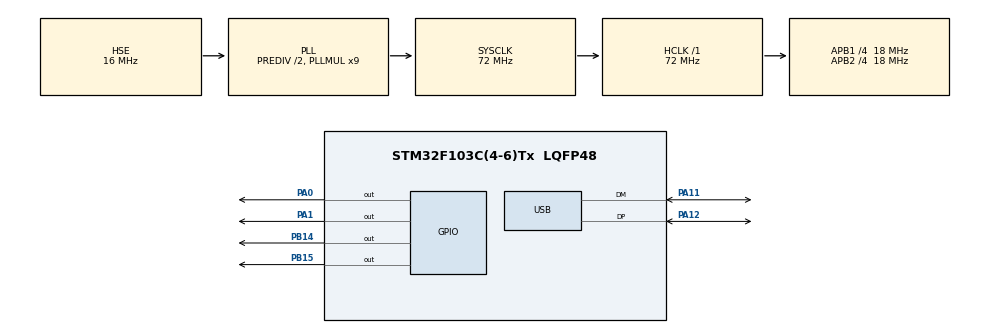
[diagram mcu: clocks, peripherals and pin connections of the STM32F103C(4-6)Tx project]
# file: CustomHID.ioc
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Mcu.Family=STM32F1
Mcu.Name=STM32F103C(4-6)Tx
Mcu.Package=LQFP48
NVIC.PriorityGroup=NVIC_PRIORITYGROUP_4
NVIC.USB_LP_CAN1_RX0_IRQn=true\:0\:0\:false\:false\:true\:false
PA0-WKUP.Signal=GPIO_Output
PA1.Signal=GPIO_Output
PA11.Mode=Device
PA11.Signal=USB_DM
PA12.Mode=Device
PA12.Signal=USB_DP
PA13.Mode=Serial_Wire
PA13.Signal=SYS_JTMS-SWDIO
PA14.Mode=Serial_Wire
PA14.Signal=SYS_JTCK-SWCLK
PB14.GPIO_ModeDefaultOutputPP=GPIO_MODE_OUTPUT_PP
PB14.GPIO_PuPd=GPIO_NOPULL
PB14.GPIO_Speed=GPIO_SPEED_FREQ_LOW
PB14.PinState=GPIO_PIN_RESET
PB14.Signal=GPIO_Output
PB15.GPIO_ModeDefaultOutputPP=GPIO_MODE_OUTPUT_PP
PB15.GPIO_PuPd=GPIO_NOPULL
PB15.GPIO_Speed=GPIO_SPEED_FREQ_LOW
PB15.PinState=GPIO_PIN_RESET
PB15.Signal=GPIO_Output
PD0-OSC_IN.Mode=HSE-External-Oscillator
PD0-OSC_IN.Signal=RCC_OSC_IN
PD1-OSC_OUT.Mode=HSE-External-Oscillator
PD1-OSC_OUT.Signal=RCC_OSC_OUT
ProjectManager.HeapSize=0x200
ProjectManager.StackSize=0x400
ProjectManager.TargetToolchain=MDK-ARM V5
RCC.AHBFreq_Value=72000000
RCC.APB1CLKDivider=RCC_HCLK_DIV4
RCC.APB1Freq_Value=18000000
RCC.APB1TimFreq_Value=36000000
RCC.APB2CLKDivider=RCC_HCLK_DIV4
RCC.APB2Freq_Value=18000000
RCC.APB2TimFreq_Value=36000000
RCC.HCLKFreq_Value=72000000
RCC.HSEDivPLL=RCC_HSE_PREDIV_DIV2
RCC.HSE_VALUE=16000000
RCC.PLLMUL=RCC_PLL_MUL9
RCC.SYSCLKFreq_VALUE=72000000
RCC.SYSCLKSource=RCC_SYSCLKSOURCE_PLLCLK
RCC.USBFreq_Value=48000000
RCC.USBPrescaler=RCC_USBCLKSOURCE_PLL_DIV1_5
USB_DEVICE.CLASS_NAME_FS=CDC
USB_DEVICE.USBD_DEBUG_LEVEL=3
USB_DEVICE.VID=0xA83
USB_DEVICE.VirtualMode=Cdc
USB_DEVICE.VirtualModeFS=Cdc_FS
VP_USB_DEVICE_VS_USB_DEVICE_CDC_FS.Mode=CDC_FS
board=custom

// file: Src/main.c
/* USER CODE BEGIN Header */
/**
  ******************************************************************************
  * @file           : main.c
  * @brief          : Main program body
  ******************************************************************************
  * This notice applies to any and all portions of this file
  * that are not between comment pairs USER CODE BEGIN and
  * USER CODE END. Other portions of this file, whether
  * inserted by the user or by software development tools
  * are owned by their respective copyright owners.
  *
  * Copyright (c) 2019 STMicroelectronics International N.V.
  * All rights reserved.
  *
  * Redistribution and use in source and binary forms, with or without
  * modification, are permitted, provided that the following conditions are met:
  *
  * 1. Redistribution of source code must retain the above copyright notice,
  *    this list of conditions and the following disclaimer.
  * 2. Redistributions in binary form must reproduce the above copyright notice,
  *    this list of conditions and the following disclaimer in the documentation
  *    and/or other materials provided with the distribution.
  * 3. Neither the name of STMicroelectronics nor the names of other
  *    contributors to this software may be used to endorse or promote products
  *    derived from this software without specific written permission.
  * 4. This software, including modifications and/or derivative works of this
  *    software, must execute solely and exclusively on microcontroller or
  *    microprocessor devices manufactured by or for STMicroelectronics.
  * 5. Redistribution and use of this software other than as permitted under
  *    this license is void and will automatically terminate your rights under
  *    this license.
  *
  * THIS SOFTWARE IS PROVIDED BY STMICROELECTRONICS AND CONTRIBUTORS "AS IS"
  * AND ANY EXPRESS, IMPLIED OR STATUTORY WARRANTIES, INCLUDING, BUT NOT
  * LIMITED TO, THE IMPLIED WARRANTIES OF MERCHANTABILITY, FITNESS FOR A
  * PARTICULAR PURPOSE AND NON-INFRINGEMENT OF THIRD PARTY INTELLECTUAL PROPERTY
  * RIGHTS ARE DISCLAIMED TO THE FULLEST EXTENT PERMITTED BY LAW. IN NO EVENT
  * SHALL STMICROELECTRONICS OR CONTRIBUTORS BE LIABLE FOR ANY DIRECT, INDIRECT,
  * INCIDENTAL, SPECIAL, EXEMPLARY, OR CONSEQUENTIAL DAMAGES (INCLUDING, BUT NOT
  * LIMITED TO, PROCUREMENT OF SUBSTITUTE GOODS OR SERVICES; LOSS OF USE, DATA,
  * OR PROFITS; OR BUSINESS INTERRUPTION) HOWEVER CAUSED AND ON ANY THEORY OF
  * LIABILITY, WHETHER IN CONTRACT, STRICT LIABILITY, OR TORT (INCLUDING
  * NEGLIGENCE OR OTHERWISE) ARISING IN ANY WAY OUT OF THE USE OF THIS SOFTWARE,
  * EVEN IF ADVISED OF THE POSSIBILITY OF SUCH DAMAGE.
  *
  ******************************************************************************
  */
/* USER CODE END Header */

#include "main.h"
#include "usb_device.h"

/* USER CODE BEGIN Includes */
#include "usbd_cdc_if.h"
/* USER CODE END Includes */

/* USER CODE BEGIN PV */
uint8_t CDC_Transmit_FS(uint8_t* Buf, uint16_t Len);
//void HAL_CAN_RxFifo1MsgPendingCallback(CAN_HandleTypeDef *hcan);

//CAN_RxHeaderTypeDef RxHeader;
//CAN_TxHeaderTypeDef TxHeader;

#pragma pack(push, 1)

typedef struct {
	uint8_t type;
	uint16_t canId;
	uint8_t length;
	uint8_t data[8];
} Message;

#pragma pack(pop)

int8_t ledRoot = 0;
int8_t _CanDataReady;

/* USER CODE END PV */

void SystemClock_Config(void);
static void MX_GPIO_Init(void);

int main(void)
{

  /* MCU Configuration--------------------------------------------------------*/

  /* Reset of all peripherals, Initializes the Flash interface and the Systick. */
  HAL_Init();

  /* Configure the system clock */
  SystemClock_Config();

  /* Initialize all configured peripherals */
  MX_GPIO_Init();
  MX_USB_DEVICE_Init();

  /* Infinite loop */
  while (1)
  {

    /* USER CODE BEGIN 3 */
		//CDC_Transmit_FS("Echo", 5);
		//HAL_GPIO_WritePin(USB_TX_PIN_GPIO_Port, USB_TX_PIN_Pin, GPIO_PIN_RESET);
		//HAL_GPIO_WritePin(USB_RX_PIN_GPIO_Port, USB_RX_PIN_Pin, GPIO_PIN_RESET);
		HAL_GPIO_WritePin(GPIOA, GPIO_PIN_0, GPIO_PIN_RESET);

		if ( ledRoot ){
			HAL_GPIO_WritePin(GPIOA, GPIO_PIN_0, GPIO_PIN_SET);
			ledRoot = 0;
			CDC_Transmit_FS("Echo\r\n", 6);
		}

		//if ( ) {
			//hcan->ErrorCode = HAL_CAN_ERROR_NONE;
		//}

	/*	switch ( p.val ){
			case 1: {
					HAL_GPIO_WritePin(GPIOA, GPIO_PIN_0, GPIO_PIN_RESET);
					//CDC_Transmit_FS((unsigned char*)dataToSend, 4);
			} break;
			case 2: {
					HAL_GPIO_WritePin(GPIOA, GPIO_PIN_0, GPIO_PIN_SET);
					//CDC_Transmit_FS((unsigned char*)dataToSend, 4);
			} break;
			case 3: {

			} break;
		}

		if ( transmitPacket.val ){
			HAL_GPIO_WritePin(USB_TX_PIN_GPIO_Port, USB_TX_PIN_Pin, GPIO_PIN_SET);
			transmitPacket.val = 0;
		}

		if ( p.val ){
			HAL_GPIO_WritePin(USB_RX_PIN_GPIO_Port, USB_RX_PIN_Pin, GPIO_PIN_SET);
			p.val = 0;
		}

		if ( _CanDataReady != -1 ){
			//CDC_Transmit_FS(RxData[_CanDataReady].aData, 8);
			//HAL_GPIO_WritePin(USB_RX_PIN_GPIO_Port, USB_RX_PIN_Pin, GPIO_PIN_SET);
			_CanDataReady = 0;
		} */

		HAL_Delay(50);
  }
  /* USER CODE END 3 */
}

void SystemClock_Config(void)
{
  RCC_OscInitTypeDef RCC_OscInitStruct = {0};
  RCC_ClkInitTypeDef RCC_ClkInitStruct = {0};
  RCC_PeriphCLKInitTypeDef PeriphClkInit = {0};

  /**Initializes the CPU, AHB and APB busses clocks
  */
  RCC_OscInitStruct.OscillatorType = RCC_OSCILLATORTYPE_HSE;
  RCC_OscInitStruct.HSEState = RCC_HSE_ON;
  RCC_OscInitStruct.HSEPredivValue = RCC_HSE_PREDIV_DIV2;
  RCC_OscInitStruct.HSIState = RCC_HSI_ON;
  RCC_OscInitStruct.PLL.PLLState = RCC_PLL_ON;
  RCC_OscInitStruct.PLL.PLLSource = RCC_PLLSOURCE_HSE;
  RCC_OscInitStruct.PLL.PLLMUL = RCC_PLL_MUL9;
  if (HAL_RCC_OscConfig(&RCC_OscInitStruct) != HAL_OK)
  {
    Error_Handler();
  }
  /**Initializes the CPU, AHB and APB busses clocks
  */
  RCC_ClkInitStruct.ClockType = RCC_CLOCKTYPE_HCLK|RCC_CLOCKTYPE_SYSCLK
                              |RCC_CLOCKTYPE_PCLK1|RCC_CLOCKTYPE_PCLK2;
  RCC_ClkInitStruct.SYSCLKSource = RCC_SYSCLKSOURCE_PLLCLK;
  RCC_ClkInitStruct.AHBCLKDivider = RCC_SYSCLK_DIV1;
  RCC_ClkInitStruct.APB1CLKDivider = RCC_HCLK_DIV4;
  RCC_ClkInitStruct.APB2CLKDivider = RCC_HCLK_DIV4;

  if (HAL_RCC_ClockConfig(&RCC_ClkInitStruct, FLASH_LATENCY_2) != HAL_OK)
  {
    Error_Handler();
  }
  PeriphClkInit.PeriphClockSelection = RCC_PERIPHCLK_USB;
  PeriphClkInit.UsbClockSelection = RCC_USBCLKSOURCE_PLL_DIV1_5;
  if (HAL_RCCEx_PeriphCLKConfig(&PeriphClkInit) != HAL_OK)
  {
    Error_Handler();
  }
}

static void MX_GPIO_Init(void)
{
  GPIO_InitTypeDef GPIO_InitStruct = {0};

  /* GPIO Ports Clock Enable */
  __HAL_RCC_GPIOD_CLK_ENABLE();
  __HAL_RCC_GPIOA_CLK_ENABLE();
  __HAL_RCC_GPIOB_CLK_ENABLE();

  /*Configure GPIO pin Output Level */
  HAL_GPIO_WritePin(GPIOA, GPIO_PIN_0|GPIO_PIN_1, GPIO_PIN_RESET);

  /*Configure GPIO pin Output Level */
  HAL_GPIO_WritePin(GPIOB, GPIO_PIN_14|GPIO_PIN_15, GPIO_PIN_RESET);

  /*Configure GPIO pins : PA0 PA1 */
  GPIO_InitStruct.Pin = GPIO_PIN_0|GPIO_PIN_1;
  GPIO_InitStruct.Mode = GPIO_MODE_OUTPUT_PP;
  GPIO_InitStruct.Pull = GPIO_NOPULL;
  GPIO_InitStruct.Speed = GPIO_SPEED_FREQ_LOW;
  HAL_GPIO_Init(GPIOA, &GPIO_InitStruct);

  /*Configure GPIO pins : PB14 PB15 */
  GPIO_InitStruct.Pin = GPIO_PIN_14|GPIO_PIN_15;
  GPIO_InitStruct.Mode = GPIO_MODE_OUTPUT_PP;
  GPIO_InitStruct.Pull = GPIO_NOPULL;
  GPIO_InitStruct.Speed = GPIO_SPEED_FREQ_LOW;
  HAL_GPIO_Init(GPIOB, &GPIO_InitStruct);

}

/* USER CODE BEGIN 4 */
/*void HAL_CAN_RxFifo1MsgPendingCallback(CAN_HandleTypeDef *hcan)
{
	Message msg;
	msg.type = 0;
	HAL_CAN_GetRxMessage(hcan, CAN_RX_FIFO1, &RxHeader, msg.data);
	msg.canId = RxHeader.StdId;
	msg.length = RxHeader.DLC;
	//CDC_Transmit_FS((uint8_t*)&msg, 4 + RxHeader.DLC);
}
*/
void CDC_Rx_Packet(uint8_t* Buf, uint32_t *Len)
{
	uint32_t txMailBox;
	ledRoot = 1;
	//if ( *Len >= 4 ){
		//Message * pMessage = (Message*)Buf;
		//TxHeader.StdId = pMessage->canId;
		//TxHeader.ExtId = pMessage->canId;
		//TxHeader.RTR = CAN_RTR_DATA;
		//TxHeader.IDE = CAN_ID_STD;
		//TxHeader.DLC = pMessage->length;
		//HAL_CAN_AddTxMessage(&hcan, &TxHeader, pMessage->data, &txMailBox);
	//}
}
/* USER CODE END 4 */

void Error_Handler(void)
{
}

/************************ (C) COPYRIGHT STMicroelectronics *****END OF FILE****/
